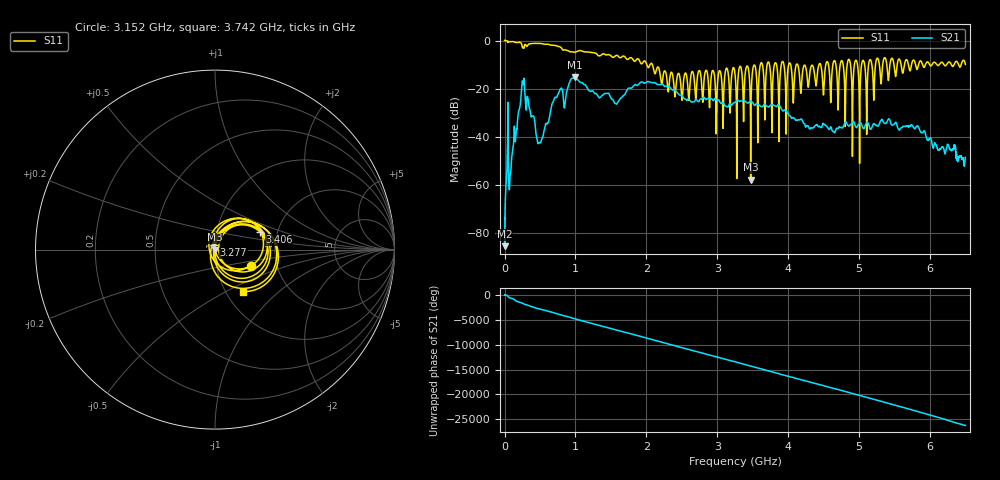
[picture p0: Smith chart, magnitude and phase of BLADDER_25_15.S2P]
!Keysight Technologies,E5063A,MY54503115,A.05.08
!Date: Sun Feb 04 18:42:39 2024
!Data & Calibration Information:
!Freq	S11:NONE(--)	S21:NONE(--)	S12:NONE(--)	S22:NONE(--)
# Hz S dB R 50
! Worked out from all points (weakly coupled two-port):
!   10001 points, 100 kHz to 6.5 GHz, reference 50 ohm
!   highest |S21| = -15.35 dB at 987.4 MHz (marker M1); lowest = -85.6 dB at 750 kHz (marker M2)
!   lowest |S11| = -57.9 dB at 3.471 GHz (marker M3), VSWR 1.00, Z = 50 - j0.122 ohm
!   |S11| at or under -10 dB: 2.084 GHz to 3.608 GHz (1.524 GHz wide, 53.5 % of centre); 4.035 GHz to 4.115 GHz (79.76 MHz wide, 1.96 % of centre); 4.133 GHz to 4.435 GHz (301.7 MHz wide, 7.04 % of centre) (the widest 3 of 28)
!   S12 and S22 are empty: the file has one direction only
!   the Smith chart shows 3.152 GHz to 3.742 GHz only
!   S11 on the Smith chart (normalised r, x): 3.152 GHz: 1.46, -0.27; 3.277 GHz: 0.99, +0.05; 3.406 GHz: 1.62, +0.35; 3.742 GHz: 1.21, -0.61
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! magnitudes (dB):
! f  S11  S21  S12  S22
! 100 kHz  0.0  -83.8  -  -
! 750 kHz  0.0  -85.6  -  -
! 36.5 MHz  -0.2  -48.1  -  -
! 87.85 MHz  -0.5  -53.9  -  -
! 254.9 MHz  -3.0  -17.4  -  -
! 492.1 MHz  -1.2  -42.5  -  -
! 693.6 MHz  -2.0  -24.8  -  -
! 987.4 MHz  -4.9  -15.4  -  -
! 1.084 GHz  -4.2  -17.5  -  -
! 1.573 GHz  -6.2  -26.5  -  -
! 2.167 GHz  -11.0  -18.4  -  -
! 3.152 GHz  -13.3  -27.6  -  -
! 3.25 GHz  -13.8  -25.7  -  -
! 3.277 GHz  -32.1  -25.0  -  -
! 3.406 GHz  -11.4  -25.5  -  -
! 3.471 GHz  -57.9  -25.2  -  -
! 3.52 GHz  -10.2  -26.9  -  -
! 3.566 GHz  -25.2  -26.4  -  -
! 3.742 GHz  -11.0  -27.1  -  -
! 4.334 GHz  -10.3  -36.3  -  -
! 5.417 GHz  -16.0  -32.6  -  -
! 6.5 GHz  -10.0  -48.6  -  -
